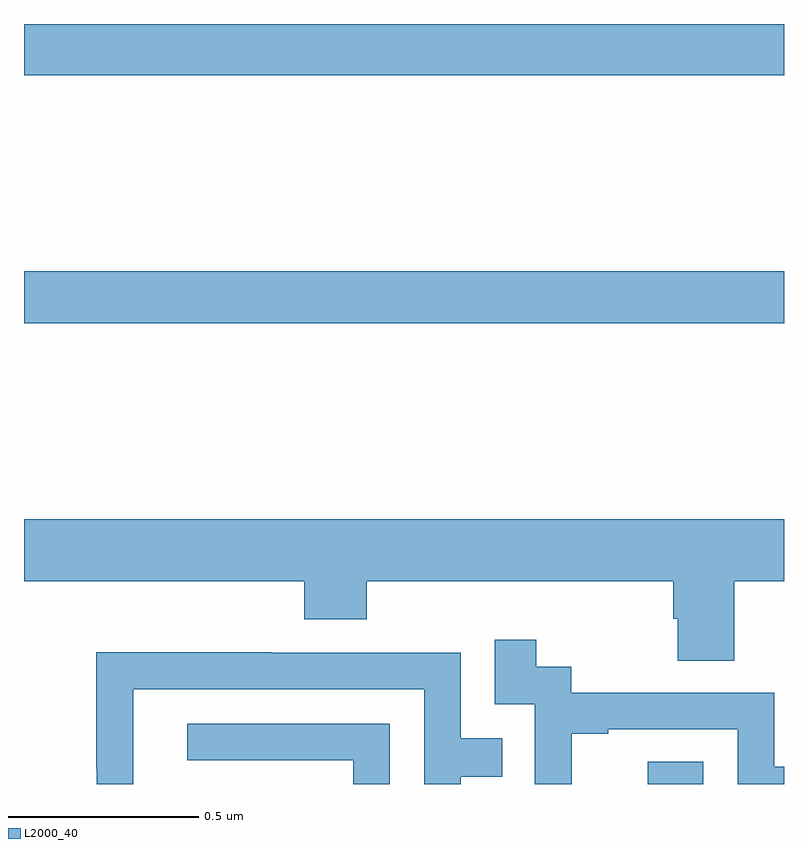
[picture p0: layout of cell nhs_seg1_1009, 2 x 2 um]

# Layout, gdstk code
import gdstk
lib = gdstk.Library(unit=1e-6, precision=1e-09)
def R(c, l, rs):  # rectangles x0, y0, x1, y1
    for r in rs: c.add(gdstk.rectangle(r[:2], r[2:], *l))
def P(c, l, *ps):  # polygons
    for p in ps: c.add(gdstk.Polygon(p, *l))
L2000_40 = (2000, 40)

nhs_seg1_1009 = lib.new_cell('nhs_seg1_1009')
R(nhs_seg1_1009, L2000_40, [(124.641,551.199,124.788,551.257), (123,552.412,125,552.548), (123,553.064,125,553.199)])
P(nhs_seg1_1009, L2000_40, [(124.869,551.732),(125,551.732),(125,551.896),(123,551.896),(123,551.732),(123.737,551.732),(123.737,551.633),(123.902,551.633),(123.902,551.732),(124.709,551.732),(124.709,551.634),(124.721,551.634),(124.721,551.524),(124.869,551.524)],
  [(124.442,551.331),(124.537,551.331),(124.537,551.343),(124.878,551.343),(124.878,551.199),(125,551.199),(125,551.244),(124.974,551.244),(124.974,551.439),(124.44,551.439),(124.44,551.508),(124.348,551.508),(124.348,551.578),(124.239,551.578),(124.239,551.409),(124.344,551.409),(124.344,551.199),(124.442,551.199)],
  [(123.288,551.448),(124.053,551.448),(124.053,551.199),(124.149,551.199),(124.149,551.218),(124.259,551.218),(124.259,551.319),(124.149,551.319),(124.149,551.544),(123.653,551.544),(123.653,551.546),(123.19,551.546),(123.19,551.239),(123.192,551.239),(123.192,551.199),(123.288,551.199)],
  [(123.963,551.358),(123.429,551.358),(123.429,551.262),(123.867,551.262),(123.867,551.199),(123.963,551.199)])

lib.write_gds('nhs_seg1_1009.gds')
